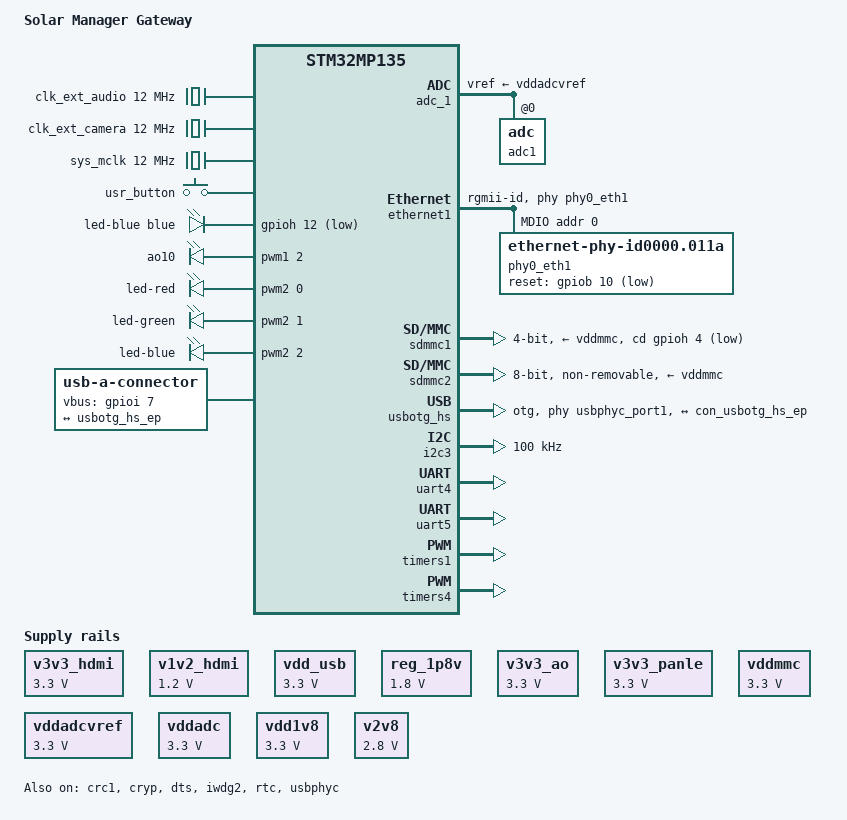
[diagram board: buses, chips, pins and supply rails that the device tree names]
// SPDX-License-Identifier: (GPL-2.0+ OR BSD-3-Clause)

/dts-v1/;

#include <dt-bindings/gpio/gpio.h>
#include <dt-bindings/input/input.h>
#include <dt-bindings/leds/common.h>
#include <dt-bindings/regulator/st,stm32mp13-regulator.h>
#include "stm32mp135.dtsi"
#include "stm32mp13xf.dtsi"
#include "sm-stm32mp13-pinctrl.dtsi"

/ {
	model = "Solar Manager Gateway";
	compatible = "st,stm32mp135f-dk", "st,stm32mp135";

	aliases {
		ethernet0 = &ethernet1;
		serial0 = &uart4;
		serial1 = &uart5;
	};

	chosen {
		#address-cells = <1>;
		#size-cells = <1>;
		ranges;
		stdout-path = "serial0:115200n8";
	};

	clocks {
		clk_ext_audio: clk-ext-audio {
			#clock-cells = <0>;
			compatible = "fixed-clock";
			clock-frequency = <12000000>;
		};

		clk_ext_camera: clk-ext-camera {
			#clock-cells = <0>;
			compatible = "fixed-clock";
			clock-frequency = <12000000>;
		};

		clk_mco1: clk-mco1 {
			#clock-cells = <0>;
			compatible = "fixed-clock";
			clock-frequency = <24000000>;
		};
	};

	sys_mclk: clock-mclk {
		compatible = "fixed-clock";
		#clock-cells = <0>;
		clock-frequency = <12000000>;
	};

	gpio-keys {
		compatible = "gpio-keys";
		#size-cells = <0>;
		button-0 {
			label = "usr_button";
			linux,code = <KEY_ENTER>;
			interrupt-parent = <&gpioi>;
			interrupts = <1 IRQ_TYPE_EDGE_RISING>;
		};
	};

	leds {
		compatible = "gpio-leds";
		led-blue {
			function = LED_FUNCTION_HEARTBEAT;
			color = <LED_COLOR_ID_BLUE>;
			gpios = <&gpioh 12 GPIO_ACTIVE_LOW>;
			linux,default-trigger = "heartbeat";
			default-state = "off";
		};
	};

	v3v3_hdmi: regulator-v3v3-hdmi {
		compatible = "regulator-fixed";
		regulator-name = "v3v3_hdmi";
		regulator-min-microvolt = <3300000>;
		regulator-max-microvolt = <3300000>;
		regulator-always-on;
		regulator-boot-on;
	};

	v1v2_hdmi: regulator-v1v2-hdmi {
		compatible = "regulator-fixed";
		regulator-name = "v1v2_hdmi";
		regulator-min-microvolt = <1200000>;
		regulator-max-microvolt = <1200000>;
		regulator-always-on;
		regulator-boot-on;
	};

	vdd_usb: reg-vdd_usb {
		compatible = "regulator-fixed";
		regulator-name = "vdd_usb";
		regulator-min-microvolt = <3300000>;
		regulator-max-microvolt = <3300000>;
		regulator-always-on;
		regulator-boot-on;
	};

	reg_1p8v: regulator3 {
		compatible = "regulator-fixed";
		regulator-name = "fixed-1.8V";
		regulator-min-microvolt = <1800000>;
		regulator-max-microvolt = <1800000>;
		regulator-boot-on;
		regulator-always-on;
	};

	v3v3_ao: v3v3_ao {
			compatible = "regulator-fixed";
			regulator-name = "v3v3_ao";
			regulator-min-microvolt = <3300000>;
			regulator-max-microvolt = <3300000>;
			regulator-always-on;
	};

	v3v3_panle: v3v3_panle {
			compatible = "regulator-fixed";
			regulator-name = "v3v3_panle";
			regulator-min-microvolt = <3300000>;
			regulator-max-microvolt = <3300000>;
			regulator-always-on;
	};

	vddmmc: fixedregulator@0 {
			compatible = "regulator-fixed";
			regulator-name = "vddmmc";
			regulator-min-microvolt = <3300000>;
			regulator-max-microvolt = <3300000>;
	};

	vddadcvref: fixedregulator@0 {
			compatible = "regulator-fixed";
			regulator-name = "vddadcvref";
			regulator-min-microvolt = <3300000>;
			regulator-max-microvolt = <3300000>;
	};

	vddadc: fixedregulator@0 {
			compatible = "regulator-fixed";
			regulator-name = "vddadc";
			regulator-min-microvolt = <3300000>;
			regulator-max-microvolt = <3300000>;
	};

	vdd1v8: vdd1v8 {
			compatible = "regulator-fixed";
			regulator-name = "vdd1v8";
			regulator-min-microvolt = <3300000>;
			regulator-max-microvolt = <3300000>;
	};

	v2v8: v2v8 {
			compatible = "regulator-fixed";
			regulator-name = "v2v8";
			regulator-min-microvolt = <2800000>;
			regulator-max-microvolt = <2800000>;
	};

	/* PWM DT user on TIM1_CH3: "pwm1", example with "pwm-leds"[5] */
	pwm-outputs {
		compatible = "pwm-leds";

		ao10 {
			label = "ao10";
			/* Use pwm1 channel 2 (e.g. TIM1_CH3) */
			/* period in nanoseconds (500000), normal polarity (0) */
			pwms = <&pwm1 2 100000 0>;
			max-brightness = <255>;
		};

		led-red {
			pwms = <&pwm2 0 100000 1>;
			max-brightness = <255>;
		};

		led-green {
			pwms = <&pwm2 1 100000 1>;
			max-brightness = <255>;
		};

		led-blue {
			pwms = <&pwm2 2 100000 1>;
			max-brightness = <255>;
		};
	};

	usb-a-connector {
		compatible = "usb-a-connector";
		label = "USB";
		vbus-gpios = <&gpioi 7 (GPIO_ACTIVE_HIGH | GPIO_PULL_DOWN)>;

		port {
			con_usbotg_hs_ep: endpoint {
				remote-endpoint = <&usbotg_hs_ep>;
			};
		};
	};

	gw-device {
		relay-gpios = <&gpiod 0 GPIO_ACTIVE_HIGH>, <&gpiod 3 GPIO_ACTIVE_HIGH>;
		input-gpios = <&gpioe 4 GPIO_ACTIVE_LOW>, <&gpioe 9 GPIO_ACTIVE_LOW>;
	};
};

&adc_1 {
	pinctrl-names = "default";
	pinctrl-0 = <&adc1_usb_cc_pins_a>;
	vdda-supply = <&vddadc>;
	vref-supply = <&vddadcvref>;
	vdd-supply = <&vddadc>;
	status = "okay";
	adc1: adc@0 {
		status = "okay";
		channel@2 {
			reg = <2>;
			st,min-sample-time-ns = <5000>;
		};
		channel@8 {
			reg = <8>;
			st,min-sample-time-ns = <5000>;
		};
	};
};

&crc1 {
	status = "okay";
};

&cryp {
	status = "okay";
};

&dts {
	status = "okay";
};

&ethernet1 {
	status = "okay";
	pinctrl-0 = <&eth1_rgmii_pins_a>;
	pinctrl-1 = <&eth1_rgmii_sleep_pins_a>;
	pinctrl-names = "default", "sleep";
	phy-mode = "rgmii-id";
	max-speed = <1000>;
	phy-handle = <&phy0_eth1>;
	st,ext-phyclk;
	// st,eth-clk-sel;
	// st,phy-reset-gpios = <&gpiob 10 GPIO_ACTIVE_LOW>;

	mdio1 {
		#address-cells = <1>;
		#size-cells = <0>;
		compatible = "snps,dwmac-mdio";
		phy0_eth1: ethernet-phy@0 {
			// compatible = "ethernet-phy-ieee802.3-c22";
			compatible = "ethernet-phy-id0000.011a";
			reset-gpios = <&gpiob 10 GPIO_ACTIVE_LOW>;
			reset-assert-us = <1000>;
			reset-deassert-us = <2000>;
			reg = <0>;
		};
	};
};

&iwdg2 {
	timeout-sec = <32>;
	status = "okay";
};

&rtc {
	status = "okay";
};

&sdmmc1 {
	pinctrl-names = "default", "opendrain", "sleep";
	pinctrl-0 = <&sdmmc1_b4_pins_a &sdmmc1_clk_pins_a>;
	pinctrl-1 = <&sdmmc1_b4_od_pins_a &sdmmc1_clk_pins_a>;
	pinctrl-2 = <&sdmmc1_b4_sleep_pins_a>;
	cd-gpios = <&gpioh 4 (GPIO_ACTIVE_LOW | GPIO_PULL_UP)>;
	disable-wp;
	st,neg-edge;
	bus-width = <4>;
	vmmc-supply = <&vddmmc>;
	status = "okay";
};

/* eMMC */
&sdmmc2 {
	arm,primecell-periphid = <0x10153180>;
	pinctrl-names = "default", "opendrain", "sleep";
	pinctrl-0 = <&sdmmc2_b4_pins_a &sdmmc2_clk_pins_a>;
	pinctrl-1 = <&sdmmc2_b4_od_pins_a &sdmmc2_clk_pins_a>;
	pinctrl-2 = <&sdmmc2_b4_sleep_pins_a>;
	non-removable;
	no-sd;
	no-sdio;
	st,neg-edge;
	bus-width = <8>;
	vmmc-supply = <&vddmmc>;
	vqmmc-supply = <&vdd1v8>;
	#address-cells = <1>;
	#size-cells = <0>;
	status = "okay";
};

&timers3 {
	/delete-property/dmas;
	/delete-property/dma-names;
	status = "disabled";
};

&timers8 {
	/delete-property/dmas;
	/delete-property/dma-names;
	status = "disabled";
};

&timers14 {
	status = "disabled";
};

&usbotg_hs {
	phys = <&usbphyc_port1 0>;
	phy-names = "usb2-phy";
	usb-role-switch;
	dr_mode = "otg";
	role-switch-default-mode = "peripheral";
	// hnp-disable;
	// srp-disable;
	// adp-disable;
	status = "okay";
	port {
		usbotg_hs_ep: endpoint {
			remote-endpoint = <&con_usbotg_hs_ep>;
		};
	};
};

&usbphyc {
	status = "okay";
};

&usbphyc_port1 {
	phy-supply = <&vdd_usb>;
	st,current-boost-microamp = <1000>;
	st,decrease-hs-slew-rate;
	st,tune-hs-dc-level = <2>;
	st,enable-hs-rftime-reduction;
	st,trim-hs-current = <11>;
	st,trim-hs-impedance = <2>;
	st,tune-squelch-level = <1>;
	st,enable-hs-rx-gain-eq;
	st,no-hs-ftime-ctrl;
	st,no-lsfs-sc;
};

&i2c3 {
	pinctrl-names = "default", "sleep";
	pinctrl-0 = <&i2c3_pins_a>;
	pinctrl-1 = <&i2c3_sleep_pins_a>;
	i2c-scl-rising-time-ns = <300>;
	i2c-scl-falling-time-ns = <300>;
	clock-frequency = <100000>;
	status = "okay";
	/* spare dmas for other usage */
	/delete-property/dmas;
	/delete-property/dma-names;
};

/*console*/
&uart4 {
	pinctrl-names = "default", "sleep", "idle";
	pinctrl-0 = <&uart4_pins_a>;
	pinctrl-1 = <&uart4_sleep_pins_a>;
	pinctrl-2 = <&uart4_idle_pins_a>;
	/delete-property/dmas;
	/delete-property/dma-names;
	status = "okay";
};

/*RS485*/
&uart5 {
	pinctrl-names = "default", "sleep", "idle";
	pinctrl-0 = <&uart5_pins_a>;
	pinctrl-1 = <&uart5_sleep_pins_a>;
	pinctrl-2 = <&uart5_idle_pins_a>;
	// /delete-property/dmas;
	// /delete-property/dma-names;
	status = "okay";
};

/* PWM DT provider on TIM1: "pwm1" */
&timers1 {
	status = "okay";
	/* spare all DMA channels since they are not needed for PWM output */
	/delete-property/dmas;
	/delete-property/dma-names;
	/* define pwm1 label */
	pwm1: pwm {
		/* configure PWM pins on TIM1_CH3 */
		pinctrl-0 = <&pwm1_pins_a>;
		pinctrl-names = "default";
		/* enable PWM on TIM1 */
		status = "okay";
	};
};

&timers4 {
	status = "okay";
	/* spare all DMA channels since they are not needed for PWM output */
	/delete-property/dmas;
	/delete-property/dma-names;
	/* define label */
	pwm2: pwm {
		pinctrl-0 = <&pwm2_pins_a>;
		pinctrl-1 = <&pwm2_sleep_pins_a>;
		pinctrl-names = "default", "sleep";
		status = "okay";
	};
};
